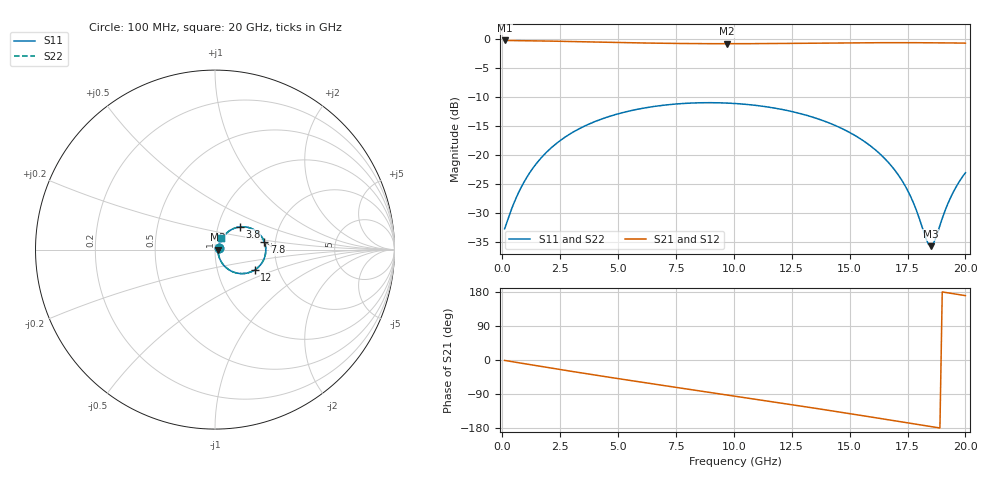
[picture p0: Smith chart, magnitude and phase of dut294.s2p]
! Touchstone file exported from HFSS 2026.1.0
!  File:  C:/ffzhzh/LocalFiles/Ansys_Project_Files/temp_train_TSV_RDL_294_1783087957_20200.aedt
!  Generated:  10:28:29 PM Jul  3, 2026
!  Design:  TSV_RDL
!  Project:  temp_train_TSV_RDL_294_1783087957_20200
! Variables:
!  h_bsmrdl = 5.76um
!  h_ox = 20um
!  h_rdl = 5um
!  h_sub = 99.67um
!  h_tmrdl = 4.24um
!  h_tsv = 99.67um
!  h_via = 3um
!  l_bsmrdl = 269.11um
!  l_sub = 2868.25um
!  l_tmrdl = 385.32um
!  m_sub = 200um
!  pitch = 27.79um
!  r_tsv = 2.47um
!  s_tmrdl = 10um
!  w_bsmrdl = 21.84um
!  w_sub = 500um
!  w_tmrdl = 18.04um
!  x_tsv_center1 = 394.34um
!  x_tsv_center2 = 685.29um
!  x_tsv_center3 = 1088.65um
!  x_tsv_center4 = 1379.6um
!  x_tsv_center5 = 1782.96um
!  x_tsv_center6 = 2073.91um
# GHz S MA R 50.000000
! Terminal data exported
! Port[1] = TM_RDL1_1_T1
! Port[2] = TM_RDL5_1_T1
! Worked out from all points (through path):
!   200 points, 100 MHz to 20 GHz, reference 50 ohm
!   highest |S21| = -0.19 dB at 100 MHz (marker M1); lowest = -0.8 dB at 9.7 GHz (marker M2)
!   group delay of S21, straight-line fit = 26 ps
!   lowest |S11| = -35.8 dB at 18.5 GHz (marker M3), VSWR 1.03, Z = 51.6 - j0.0249 ohm
!   |S11| at or under -10 dB: start of sweep to end of sweep
!   |S22| runs from -35.6 to -11.0 dB; largest |S21 - S12| = 5.7e-13
!   S11 on the Smith chart (normalised r, x): 100 MHz: 1.04, +0.01; 3.8 GHz: 1.27, +0.33; 7.8 GHz: 1.75, +0.16; 12 GHz: 1.52, -0.37; 20 GHz: 1.06, +0.13
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0.1  0.02291 16.0  0.9781 -1.1  0.9781 -1.1  0.02291 16.0
! Gamma 0 0 0 0
! Port Impedance 50 0 50 0
0.7  0.04698 50.4  0.9741 -7.2  0.9741 -7.2  0.04698 50.4
1.4  0.08062 56.5  0.9705 -14.2  0.9705 -14.2  0.08062 56.6
2.3  0.1238 53.6  0.9639 -23.2  0.9639 -23.2  0.1238 53.6
3.5  0.1754 45.0  0.9529 -34.9  0.9529 -34.9  0.1754 45.0
3.8  0.1869 42.6  0.9501 -37.8  0.9501 -37.8  0.1869 42.6
5.3  0.2349 30.0  0.9363 -51.9  0.9363 -51.9  0.2349 30.0
6.8  0.2665 17.2  0.9253 -65.8  0.9253 -65.8  0.2665 17.2
7.8  0.2784 8.7  0.9204 -74.9  0.9204 -74.9  0.2784 8.7
9.7  0.2808 -7.4  0.9168 -92.1  0.9168 -92.1  0.2808 -7.4
10.1  0.278 -10.8  0.9169 -95.8  0.9169 -95.8  0.278 -10.8
12  0.2491 -27.0  0.9211 -113.2  0.9211 -113.2  0.2491 -26.9
13.4  0.2123 -38.8  0.9264 -126.3  0.9264 -126.3  0.2123 -38.7
15.3  0.1444 -54.1  0.9332 -144.4  0.9332 -144.4  0.1444 -53.9
16.7  0.0849 -62.5  0.9358 -158.0  0.9358 -158.0  0.08492 -62.3
17.5  0.04945 -61.8  0.9357 -165.8  0.9357 -165.8  0.04952 -61.5
17.9  0.03246 -54.8  0.9352 -169.7  0.9352 -169.7  0.03259 -54.2
18.3  0.01877 -28.7  0.9344 -173.6  0.9344 -173.6  0.01903 -28.2
18.5  0.01621 -0.9  0.9339 -175.5  0.9339 -175.5  0.01653 -0.7
18.7  0.01861 27.2  0.9333 -177.5  0.9333 -177.5  0.01891 26.8
19.4  0.04435 59.8  0.9306 175.7  0.9306 175.7  0.0445 59.5
20  0.06997 62.3  0.9277 169.9  0.9277 169.9  0.07007 62.1
